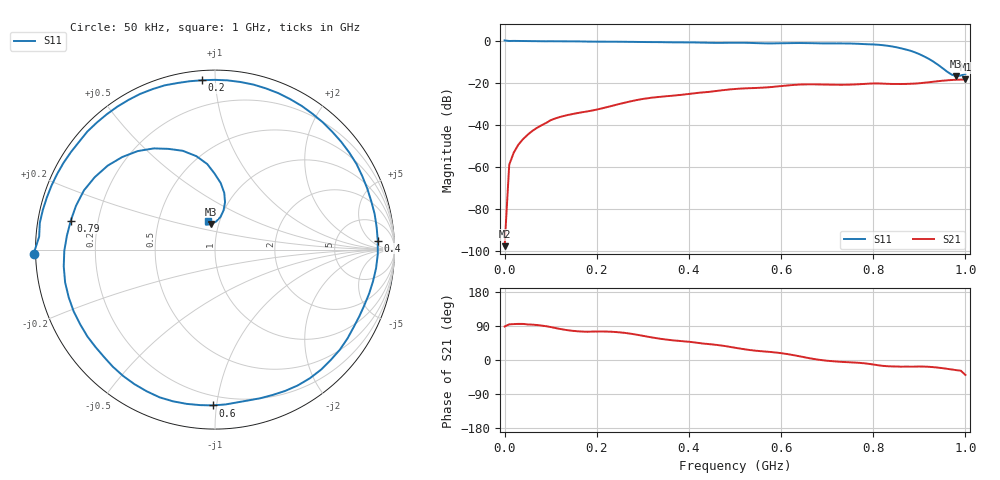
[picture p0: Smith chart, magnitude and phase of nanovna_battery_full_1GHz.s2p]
# Hz S RI R 50
!  Frequency  S11_Real  S11_Imag  S21_Real  S21_Imag  S12_Real  S12_Imag  S22_Real  S22_Imag
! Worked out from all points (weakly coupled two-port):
!   101 points, 50 kHz to 1 GHz, reference 50 ohm
!   highest |S21| = -18.46 dB at 1 GHz (marker M1); lowest = -97.8 dB at 50 kHz (marker M2)
!   lowest |S11| = -16.9 dB at 980 MHz (marker M3), VSWR 1.33, Z = 46 + j13.3 ohm
!   |S11| at or under -10 dB: 930.7 MHz to end of sweep
!   S12 and S22 are empty: the file has one direction only
!   S11 on the Smith chart (normalised r, x): 50 kHz: -0.01, -0.01; 200 MHz: 0.05, +0.92; 400 MHz: 16, +9; 600 MHz: 0.14, -0.98; 790 MHz: 0.10, +0.10; 1 GHz: 0.88, +0.29
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50000  -1.011 -0.025  3.66e-07 1.29e-05  0 0  0 0
1.00495e7  -0.9797 0.0721  -7.91e-05 0.00111  0 0  0 0
3.00485e7  -0.9592 0.221  -0.00031 0.00336  0 0  0 0
6.0047e7  -0.8795 0.4214  -0.000417 0.00708  0 0  0 0
1.00045e8  -0.7111 0.6578  0.000681 0.0128  0 0  0 0
1.700415e8  -0.2798 0.9153  0.00516 0.0192  0 0  0 0
2.0004e8  -0.0724 0.9435  0.00588 0.0222  0 0  0 0
2.60037e8  0.3527 0.8716  0.0105 0.0316  0 0  0 0
3.40033e8  0.7885 0.477  0.0262 0.0383  0 0  0 0
4.0003e8  0.9069 0.05  0.0361 0.0402  0 0  0 0
5.00025e8  0.6456 -0.6144  0.0598 0.0379  0 0  0 0
5.40023e8  0.3905 -0.7876  0.0674 0.0316  0 0  0 0
6.0002e8  -0.0133 -0.8681  0.079 0.0257  0 0  0 0
6.700165e8  -0.511 -0.7046  0.0912 0.00465  0 0  0 0
7.40013e8  -0.8149 -0.2666  0.089 -0.00861  0 0  0 0
7.900105e8  -0.8034 0.1618  0.0933 -0.0167  0 0  0 0
8.40008e8  -0.5173 0.5156  0.0893 -0.0271  0 0  0 0
8.80006e8  -0.1797 0.5506  0.0899 -0.0283  0 0  0 0
9.100045e8  -0.00295 0.4245  0.0951 -0.0298  0 0  0 0
9.40003e8  0.056 0.2637  0.1018 -0.0371  0 0  0 0
9.80001e8  -0.0226 0.1415  0.1049 -0.0529  0 0  0 0
1e9  -0.0391 0.1576  0.0923 -0.0757  0 0  0 0
